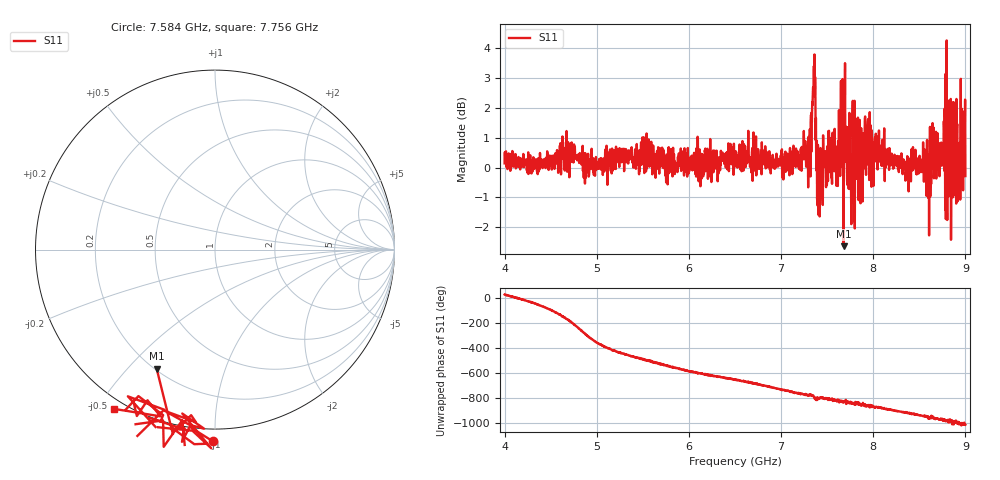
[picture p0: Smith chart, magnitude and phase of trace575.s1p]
! Created with skrf 1.8.0 (http://scikit-rf.org).
# Hz S RI R 50.0
!freq ReS11 ImS11
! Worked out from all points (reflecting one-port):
!   1601 points, 4 GHz to 9 GHz, reference 50 ohm
!   lowest |S11| = -2.6 dB at 7.678 GHz (marker M1), VSWR 6.64, Z = 10.4 - j30.2 ohm
!   phase of S11 starts at 30 deg and turns -1043 deg over the sweep
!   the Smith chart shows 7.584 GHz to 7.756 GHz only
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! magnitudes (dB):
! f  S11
! 4 GHz  0.1
! 4.625 GHz  0.8
! 4.988 GHz  0.1
! 5.25 GHz  0.6
! 5.875 GHz  -0.2
! 6.5 GHz  0.5
! 7.125 GHz  0.4
! 7.294 GHz  -0.7
! 7.347 GHz  2.7
! 7.366 GHz  2.4
! 7.4 GHz  0.8
! 7.416 GHz  -0.6
! 7.519 GHz  1.2
! 7.619 GHz  0.9
! 7.647 GHz  1.5
! 7.678 GHz  -2.6
! 7.75 GHz  -0.7
! 7.928 GHz  0.6
! 7.997 GHz  0.2
! 8.097 GHz  0.3
! 8.375 GHz  0.0
! 8.438 GHz  0.6
! 8.594 GHz  -0.1
! 8.656 GHz  1.3
! 8.788 GHz  -1.7
! 8.919 GHz  -0.1
! 8.972 GHz  0.6
! 9 GHz  -0.3
